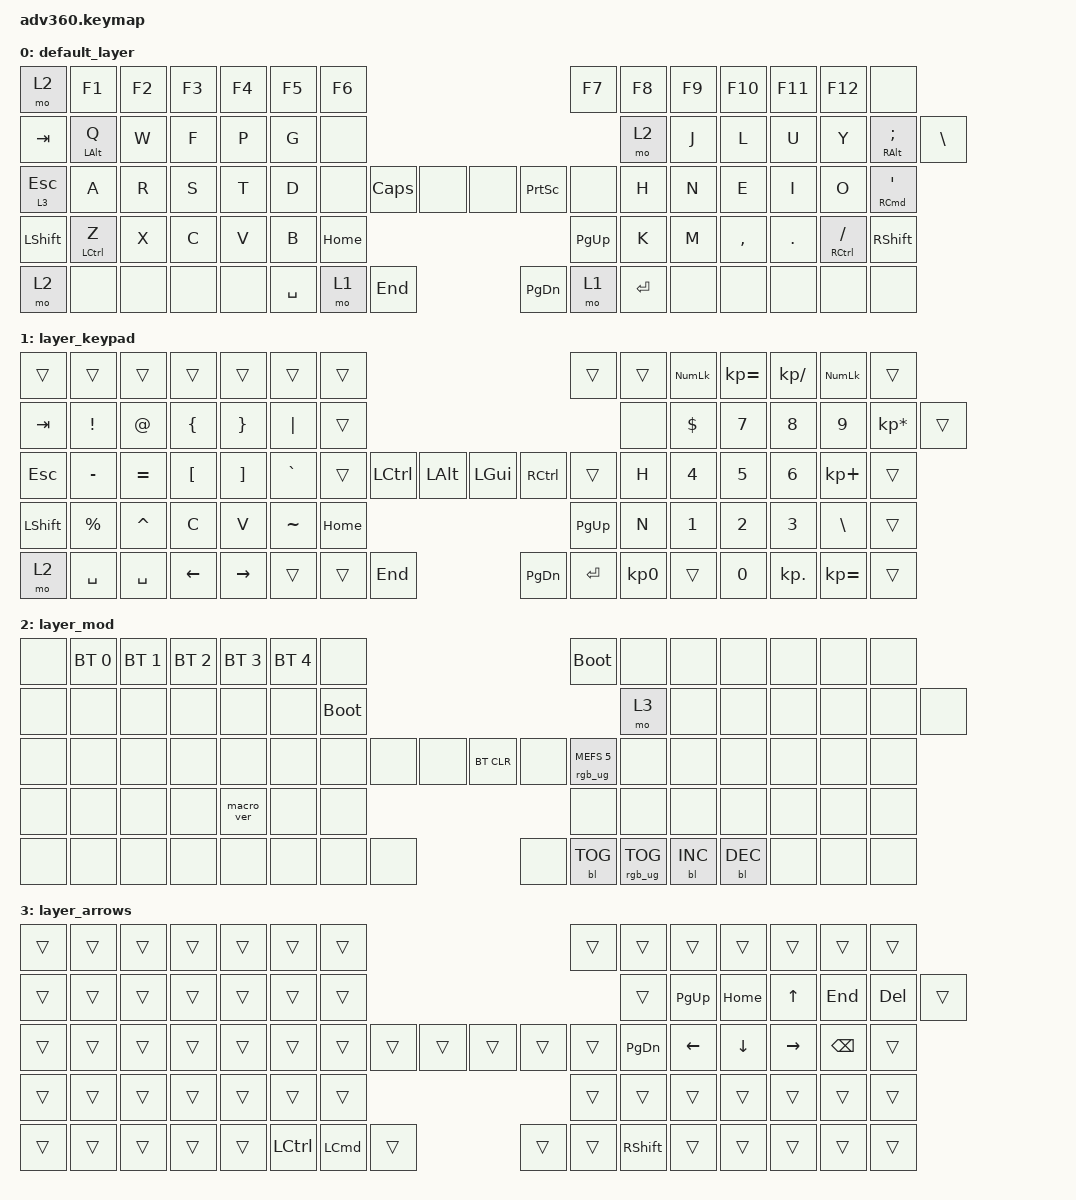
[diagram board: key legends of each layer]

/*
 * Copyright (c) 2020 The ZMK Contributors
 *
 * SPDX-License-Identifier: MIT
 */


/* THIS FILE WAS GENERATED!
 *
 * This file was generated automatically. You may or may not want to
 * edit it directly.
 */

#include <behaviors.dtsi>
#include <dt-bindings/zmk/keys.h>
#include <dt-bindings/zmk/bt.h>
#include <dt-bindings/zmk/rgb.h>
#include <dt-bindings/zmk/backlight.h>

/ {
  behaviors {
    #include "macros.dtsi"
    #include "version.dtsi"

    hm: homerow_mods {
        compatible = "zmk,behavior-hold-tap";
        label = "HOMEROW_MODS";
        #binding-cells = <2>;
        tapping-term-ms = <200>;
        quick_tap_ms = <175>;
        flavor = "tap-preferred";
        bindings = <&kp>, <&kp>;
    };
  };

    keymap {
        compatible = "zmk,keymap";


        default_layer {
            bindings = <
     &mo 2       &kp F1  &kp F2  &kp F3  &kp F4  &kp F5               &kp F6                                                                   &kp F7  &kp F8  &kp F9    &kp F10  &kp F11                  &kp F12                         &none
   &kp TAB   &mt LALT Q   &kp W   &kp F   &kp P   &kp G                &none                                                                    &mo 2   &kp J   &kp L      &kp U    &kp Y  &mt RIGHT_ALT SEMICOLON                      &kp BSLH
 &lt 3 ESC        &kp A   &kp R   &kp S   &kp T   &kp D                &none  &kp CAPS     &none                      &none  &kp PRINTSCREEN    &none   &kp H   &kp N      &kp E    &kp I                    &kp O  &mt RIGHT_COMMAND APOSTROPHE
 &kp LSHFT  &mt LCTRL Z   &kp X   &kp C   &kp V   &kp B                                 &kp HOME                  &kp PG_UP                             &kp K   &kp M  &kp COMMA  &kp DOT          &mt RCTRL SLASH                     &kp RSHFT
     &mo 2        &none   &none   &none   &none                    &kp SPACE     &mo 1   &kp END                  &kp PG_DN            &mo 1  &kp RET           &none      &none    &none                    &none                         &none
            >;
        };

        layer_keypad {
            bindings = <
    &trans     &trans     &trans            &trans             &trans     &trans            &trans                                                                &trans    &trans  &kp KP_NUM  &kp KP_EQUAL  &kp KP_DIVIDE       &kp KP_NUM  &trans
   &kp TAB   &kp EXCL     &kp AT    &kp LEFT_BRACE    &kp RIGHT_BRACE   &kp PIPE            &trans                                                                 &none  &kp DLLR      &kp N7        &kp N8         &kp N9  &kp KP_MULTIPLY  &trans
   &kp ESC  &kp MINUS  &kp EQUAL  &kp LEFT_BRACKET  &kp RIGHT_BRACKET  &kp GRAVE            &trans  &kp LCTRL  &kp LALT                   &kp LGUI  &kp RCTRL     &trans     &kp H      &kp N4        &kp N5         &kp N6      &kp KP_PLUS  &trans
 &kp LSHFT  &kp PRCNT  &kp CARET             &kp C              &kp V  &kp TILDE                               &kp HOME                  &kp PG_UP                           &kp N      &kp N1        &kp N2         &kp N3    &kp BACKSLASH  &trans
     &mo 2  &kp SPACE  &kp SPACE          &kp LEFT          &kp RIGHT                       &trans     &trans   &kp END                  &kp PG_DN  &kp ENTER  &kp KP_N0                &trans        &kp N0     &kp KP_DOT     &kp KP_EQUAL  &trans
            >;
        };

        layer_mod {
            bindings = <
  &none  &bt BT_SEL 0  &bt BT_SEL 1  &bt BT_SEL 2  &bt BT_SEL 3  &bt BT_SEL 4                  &none                                                                     &bootloader   &none       &none       &none   &none   &none   &none
  &none         &none         &none         &none         &none         &none            &bootloader                                                                           &mo 3   &none       &none       &none   &none   &none   &none
  &none         &none         &none         &none         &none         &none                  &none   &none   &none                  &bt BT_CLR       &none  &rgb_ug RGB_MEFS_CMD 5   &none       &none       &none   &none   &none   &none
  &none         &none         &none         &none    &macro_ver         &none                                  &none                       &none                                       &none       &none       &none   &none   &none   &none
  &none         &none         &none         &none         &none                                &none   &none   &none                       &none  &bl BL_TOG         &rgb_ug RGB_TOG          &bl BL_INC  &bl BL_DEC   &none   &none   &none
            >;
        };

        layer_arrows {
            bindings = <
 &trans  &trans  &trans  &trans  &trans  &trans               &trans                                                                     &trans     &trans    &trans    &trans     &trans    &trans  &trans
 &trans  &trans  &trans  &trans  &trans  &trans               &trans                                                                     &trans  &kp PG_UP  &kp HOME    &kp UP    &kp END   &kp DEL  &trans
 &trans  &trans  &trans  &trans  &trans  &trans               &trans            &trans  &trans                  &trans  &trans           &trans  &kp PG_DN  &kp LEFT  &kp DOWN  &kp RIGHT  &kp BSPC  &trans
 &trans  &trans  &trans  &trans  &trans  &trans                                         &trans                  &trans                              &trans    &trans    &trans     &trans    &trans  &trans
 &trans  &trans  &trans  &trans  &trans                    &kp LCTRL  &kp LEFT_COMMAND  &trans                  &trans  &trans  &kp RIGHT_SHIFT               &trans    &trans     &trans    &trans  &trans
            >;
        };

    };
};
